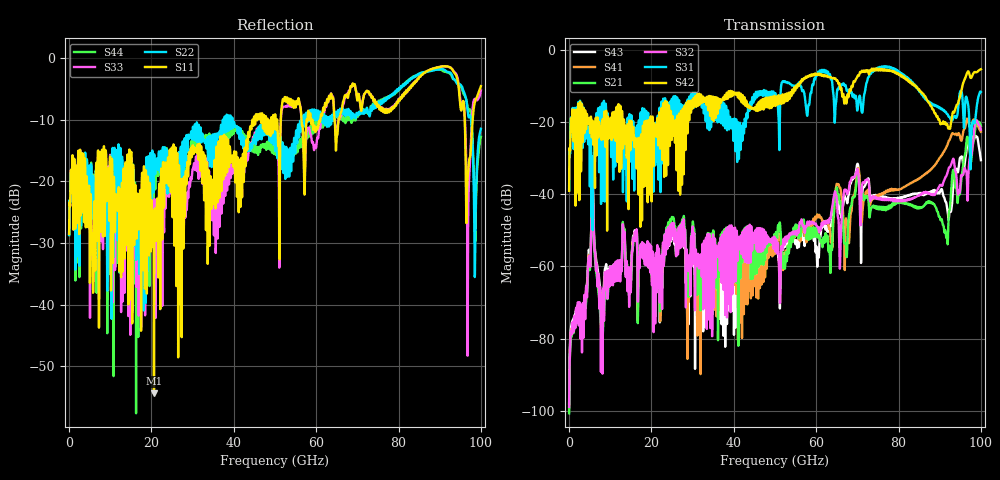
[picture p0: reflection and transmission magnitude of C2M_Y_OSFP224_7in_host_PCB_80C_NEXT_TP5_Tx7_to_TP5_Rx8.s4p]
# GHz S RI R 45
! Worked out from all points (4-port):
!   4000 points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, 25 MHz to 100 GHz, reference 45 ohm
!   strongest paths, dB at 25 MHz, 25.02 GHz, 50.02 GHz, 75.03 GHz, 100 GHz:
!     S42: -39.0, -21.4, -13.8, -5.5, -5.3
!     S31: -38.7, -14.2, -12.1, -5.0, -11.6
!     S32: -98.9, -48.5, -55.7, -41.0, -22.1
!     S21: -100.7, -46.3, -54.0, -44.1, -21.1
!     S41: -99.8, -48.9, -53.9, -40.2, -22.7
!     S43: -98.1, -51.5, -55.6, -40.4, -30.5
!   lowest |S11| = -54.4 dB at 20.62 GHz (marker M1), VSWR 1.00, Z = 45 - j0.169 ohm
!   |S11| at or under -10 dB: start of sweep to 44.52 GHz; 59.09 GHz to 61.04 GHz (1.955 GHz wide, 3.26 % of centre); 96.08 GHz to 98 GHz (1.927 GHz wide, 1.99 % of centre) (the widest 3 of 20)
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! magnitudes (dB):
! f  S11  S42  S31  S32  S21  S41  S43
! 25 MHz  -28.5  -39.0  -38.7  -98.9  -100.7  -99.8  -98.1
! 5.775 GHz  -35.7  -21.1  -39.9  -38.8  -38.8  -38.6  -38.6
! 8 GHz  -14.9  -23.1  -14.9  -69.9  -82.0  -74.7  -70.3
! 20.62 GHz  -54.4  -22.6  -26.0  -61.5  -60.6  -64.3  -66.4
! 91.55 GHz  -1.3  -20.7  -17.3  -35.0  -51.8  -27.1  -42.2
! 96.9 GHz  -18.6  -5.9  -15.1  -36.8  -24.8  -19.7  -24.9
! 100 GHz  -4.6  -5.3  -11.6  -22.1  -21.1  -22.7  -30.5
